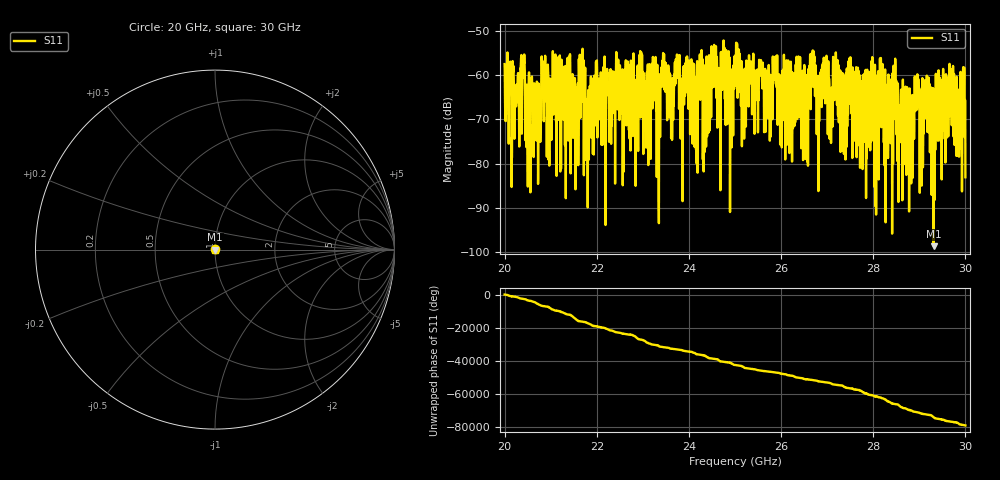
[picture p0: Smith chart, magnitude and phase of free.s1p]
#  HZ  S  RI  R  50.00
! Rohde & Schwarz ZVA40 4Ports - Version 3.90 - 1145.1110k42 SN: 100403
! Date: 2023-10-03 13:03:01
! Measurement: S12
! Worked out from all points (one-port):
!   5001 points, 20 GHz to 30 GHz, reference 50 ohm
!   lowest |S11| = -98.7 dB at 29.31 GHz (marker M1), VSWR 1.00, Z = 50 + j0.000871 ohm
!   |S11| at or under -10 dB: start of sweep to end of sweep
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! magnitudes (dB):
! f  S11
! 20 GHz  -57.5
! 20.39 GHz  -60.0
! 20.52 GHz  -65.5
! 20.84 GHz  -60.9
! 20.97 GHz  -74.5
! 21.25 GHz  -60.8
! 21.53 GHz  -65.6
! 21.66 GHz  -65.2
! 21.81 GHz  -78.9
! 22.5 GHz  -58.8
! 23.23 GHz  -60.2
! 23.34 GHz  -65.9
! 23.43 GHz  -59.7
! 23.63 GHz  -62.6
! 23.75 GHz  -58.8
! 24.35 GHz  -57.9
! 24.54 GHz  -60.5
! 25 GHz  -60.4
! 25.19 GHz  -65.5
! 25.35 GHz  -61.8
! 26.25 GHz  -60.1
! 27.5 GHz  -56.8
! 28.75 GHz  -69.0
! 28.94 GHz  -62.5
! 29.31 GHz  -98.7
! 29.69 GHz  -67.7
! 29.93 GHz  -69.2
! 30 GHz  -83.1
